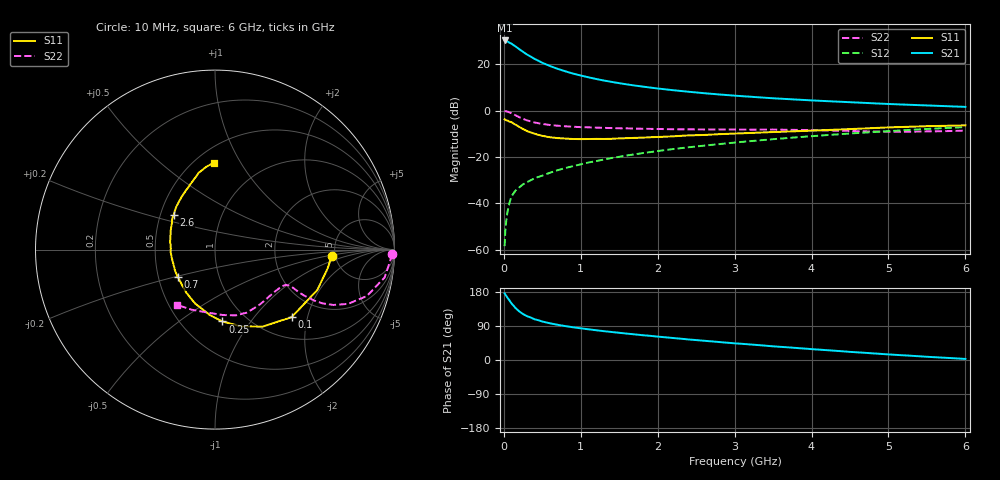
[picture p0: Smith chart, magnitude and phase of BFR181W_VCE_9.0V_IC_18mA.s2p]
! (c) 2017  Infineon Technologies AG, Munich
! Infineon Technologies  Discrete & RF Semiconductors
! BFR181W
! VCE =  9.0 V,  IC =  18 mA
! Common Emitter S-Parameters:  Jan 2017
# GHz  S  MA  R  50
!  f  S11  S21  S12  S22
! GHz  MAG  ANG  MAG  ANG  MAG  ANG  MAG  ANG
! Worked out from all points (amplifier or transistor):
!   77 points, 10 MHz to 6 GHz, reference 50 ohm
!   highest |S21| = 30.3 dB at 10 MHz (marker M1)
!   |S21| within 3 dB of that: start of sweep to 169.5 MHz
!   unconditionally stable (mu >= 1): 829.4 MHz to 2.743 GHz
!   at 130 MHz: K = 0.37, MSG = 31.8 dB, |S12| = -35.4 dB
!   at 2.2 GHz: K = 1.04, MAG = 11.5 dB, |S12| = -16.5 dB
!   at 6 GHz: K = 0.84, MSG = 4.3 dB, |S12| = -7.0 dB
!   S11 on the Smith chart (normalised r, x): 10 MHz: 4.67, -0.55; 100 MHz: 1.44, -1.60; 250 MHz: 0.78, -0.74; 700 MHz: 0.63, -0.20; 2.6 GHz: 0.59, +0.25; 6 GHz: 0.61, +0.78
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0.01  0.6515 -3.0  32.84 176.1  0.0012 88.5  0.985 -1.5
0.02  0.6355 -9.7  32.09 172.5  0.0027 97.8  0.9792 -3.4
0.05  0.613 -21.5  31.02 163.5  0.0069 78.5  0.9573 -9.4
0.1  0.5691 -41.4  27.99 149.0  0.0141 74.1  0.8837 -17.1
0.15  0.5044 -58.4  24.58 137.5  0.0188 68.8  0.8006 -22.2
0.2  0.4489 -71.8  21.31 128.3  0.0222 67.9  0.7273 -25.1
0.25  0.4024 -84.1  18.64 121.2  0.0259 64.6  0.6681 -26.6
0.3  0.3665 -94.3  16.38 115.7  0.0287 63.7  0.621 -27.2
0.4  0.3203 -110.2  13.12 107.5  0.0349 65.3  0.5578 -27.3
0.5  0.2883 -123.7  10.84 101.6  0.0399 66.4  0.5187 -26.8
0.6  0.2679 -134.0  9.229 96.8  0.046 67.5  0.493 -26.3
0.7  0.2572 -144.0  8.01 92.9  0.0522 69.3  0.4752 -25.9
0.9  0.2459 -159.7  6.339 86.3  0.0638 69.6  0.4523 -26.1
1.1  0.2456 -171.6  5.262 81.0  0.0766 71.0  0.4391 -26.9
1.3  0.2464 178.3  4.49 76.1  0.0887 71.1  0.4278 -28.3
1.5  0.2536 170.5  3.933 71.8  0.1016 71.0  0.419 -30.2
2.1  0.2761 151.5  2.897 59.9  0.1421 69.6  0.4018 -38.7
2.6  0.3004 139.9  2.395 50.8  0.1767 67.4  0.3953 -47.5
3.1  0.3267 129.8  2.063 42.6  0.2133 64.5  0.3925 -56.4
4.1  0.3782 113.2  1.643 27.3  0.2906 57.6  0.3799 -74.5
5.1  0.4427 100.6  1.379 13.5  0.3715 49.0  0.3527 -99.5
6  0.4845 90.6  1.213 2.8  0.4462 40.4  0.3728 -124.3
